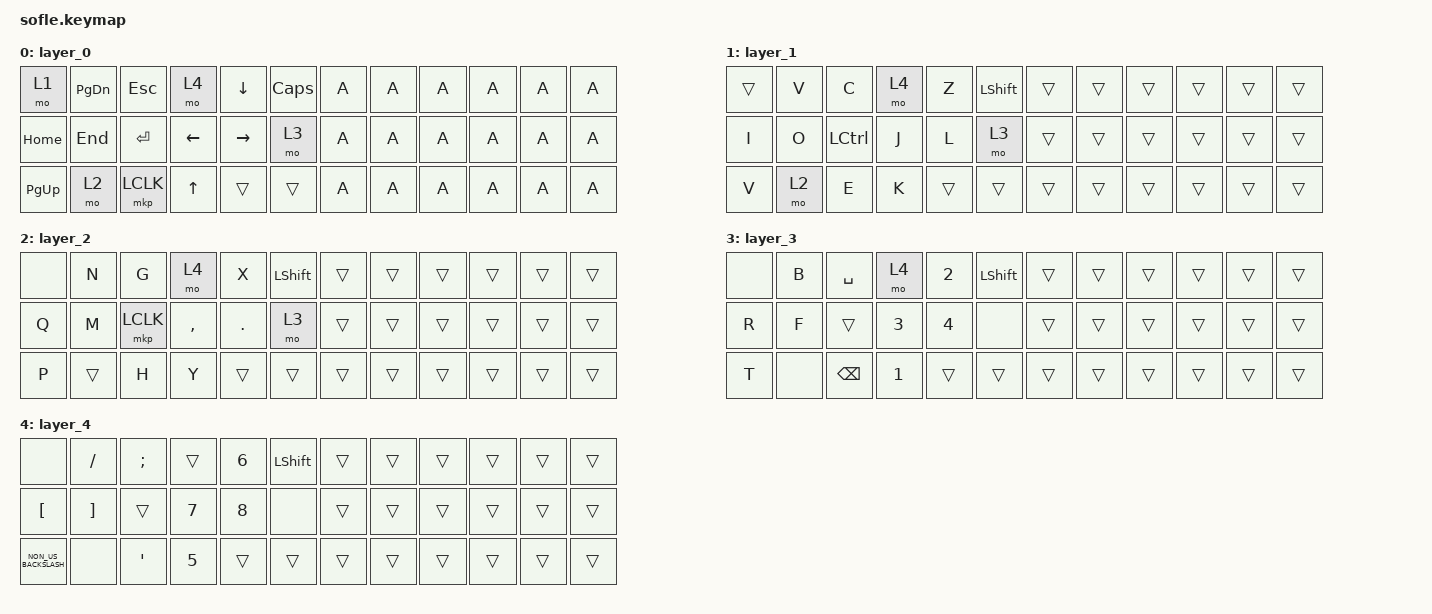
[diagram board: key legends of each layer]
/*
 * Copyright (c) 2020 The ZMK Contributors
 *
 * SPDX-License-Identifier: MIT
 */

#include <behaviors.dtsi>
#include <dt-bindings/zmk/keys.h>
#include <dt-bindings/zmk/bt.h>
#include <dt-bindings/zmk/pointing.h>

/ {
    // Activate ADJUST layer by pressing raise and lower

    conditional_layers {
        compatible = "zmk,conditional-layers";

        adjust_layer {
            if-layers = <0 0>;
            then-layer = <0>;
        };
    };

    keymap {
        compatible = "zmk,keymap";

        layer_0 {
            bindings = <
            &mo 1      &kp PAGE_DOWN  &kp ESC    &mo 4         &kp DOWN   &kp CAPS        &kp A  &kp A  &kp A  &kp A  &kp A  &kp A
            &kp HOME   &kp END        &kp ENTER  &kp LEFT      &kp RIGHT  &mo 3           &kp A  &kp A  &kp A  &kp A  &kp A  &kp A
            &kp PG_UP  &mo 2          &mkp LCLK  &kp UP_ARROW  &trans     &trans          &kp A  &kp A  &kp A  &kp A  &kp A  &kp A
            >;
        };

        layer_1 {
            bindings = <
            &trans  &kp V  &kp C      &mo 4  &kp Z   &kp LEFT_SHIFT        &trans  &trans  &trans  &trans  &trans  &trans
            &kp I   &kp O  &kp LCTRL  &kp J  &kp L   &mo 3                 &trans  &trans  &trans  &trans  &trans  &trans
            &kp V   &mo 2  &kp E      &kp K  &trans  &trans                &trans  &trans  &trans  &trans  &trans  &trans
            >;

        };

        layer_2 {
            bindings = <
            &none  &kp N   &kp G      &mo 4      &kp X       &kp LSHIFT        &trans  &trans  &trans  &trans  &trans  &trans
            &kp Q  &kp M   &mkp LCLK  &kp COMMA  &kp PERIOD  &mo 3             &trans  &trans  &trans  &trans  &trans  &trans
            &kp P  &trans  &kp H      &kp Y      &trans      &trans            &trans  &trans  &trans  &trans  &trans  &trans
            >;

        };

        layer_3 {
            bindings = <
            &none  &kp B  &kp SPACE      &mo 4         &kp NUMBER_2  &kp LEFT_SHIFT        &trans  &trans  &trans  &trans  &trans  &trans
            &kp R  &kp F  &trans         &kp NUMBER_3  &kp NUMBER_4  &none                 &trans  &trans  &trans  &trans  &trans  &trans
            &kp T  &none  &kp BACKSPACE  &kp NUMBER_1  &trans        &trans                &trans  &trans  &trans  &trans  &trans  &trans
            >;

        };

        layer_4 {
            bindings = <
            &none                 &kp SLASH          &kp SEMICOLON  &trans  &kp NUMBER_6  &kp LEFT_SHIFT        &trans  &trans  &trans  &trans  &trans  &trans
            &kp LEFT_BRACKET      &kp RIGHT_BRACKET  &trans         &kp N7  &kp N8        &none                 &trans  &trans  &trans  &trans  &trans  &trans
            &kp NON_US_BACKSLASH  &none              &kp SQT        &kp N5  &trans        &trans                &trans  &trans  &trans  &trans  &trans  &trans
            >;

        };
    };
};
